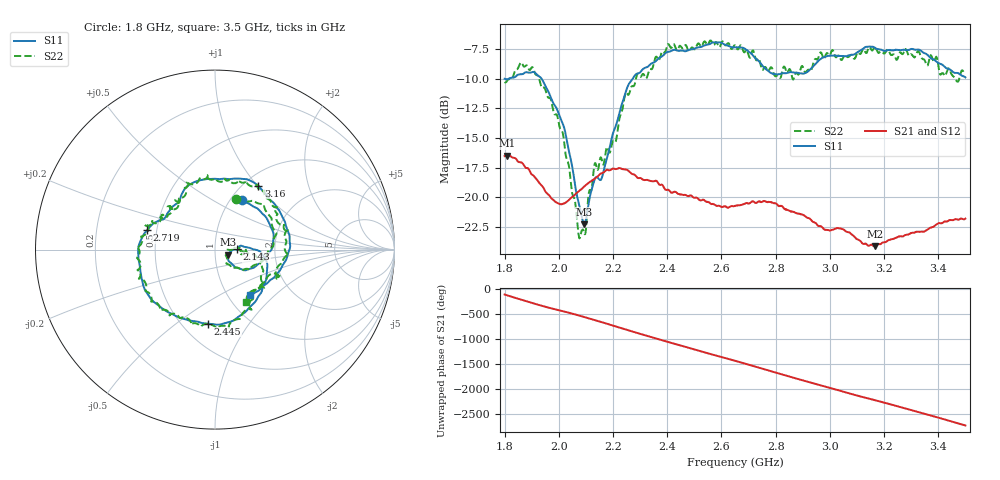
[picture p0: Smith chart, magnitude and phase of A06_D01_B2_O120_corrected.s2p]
! Created with skrf 1.9.0 (http://scikit-rf.org).
# Hz S RI R 50.0
!freq ReS11 ImS11 ReS21 ImS21 ReS12 ImS12 ReS22 ImS22
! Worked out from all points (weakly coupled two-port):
!   1601 points, 1.8 GHz to 3.5 GHz, reference 50 ohm
!   highest |S21| = -16.48 dB at 1.81 GHz (marker M1); lowest = -24.1 dB at 3.165 GHz (marker M2)
!   lowest |S11| = -22.3 dB at 2.093 GHz (marker M3), VSWR 1.17, Z = 57.7 - j3.21 ohm
!   |S11| at or under -10 dB: start of sweep to 1.814 GHz; 1.937 GHz to 2.273 GHz (336 MHz wide, 16 % of centre)
!   |S22| runs from -23.4 to -6.8 dB; largest |S21 - S12| = 0.003
!   S11 on the Smith chart (normalised r, x): 1.8 GHz: 1.12, +0.70; 2.143 GHz: 1.28, +0.01; 2.445 GHz: 0.66, -0.66; 2.719 GHz: 0.44, +0.11; 3.16 GHz: 1.16, +1.02; 3.5 GHz: 1.26, -0.71
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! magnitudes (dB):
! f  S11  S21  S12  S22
! 1.8 GHz  -10.0  -16.5  -16.5  -10.3
! 1.81 GHz  -10.0  -16.5  -16.5  -10.2
! 1.864 GHz  -9.6  -17.1  -17.1  -8.7
! 1.968 GHz  -11.4  -19.9  -20.0  -11.6
! 2.021 GHz  -14.2  -20.5  -20.5  -15.6
! 2.072 GHz  -20.3  -19.5  -19.5  -23.0
! 2.084 GHz  -21.5  -19.3  -19.3  -22.8
! 2.093 GHz  -22.3  -19.1  -19.1  -22.9
! 2.129 GHz  -18.7  -18.5  -18.5  -17.6
! 2.143 GHz  -18.3  -18.2  -18.2  -17.7
! 2.208 GHz  -14.1  -17.6  -17.6  -15.3
! 2.257 GHz  -10.5  -17.8  -17.7  -11.4
! 2.367 GHz  -8.3  -18.8  -18.8  -8.4
! 2.445 GHz  -7.6  -19.7  -19.7  -7.2
! 2.65 GHz  -7.4  -20.7  -20.7  -7.2
! 2.719 GHz  -8.1  -20.4  -20.3  -7.7
! 2.809 GHz  -9.6  -20.7  -20.6  -9.8
! 2.934 GHz  -9.1  -22.0  -22.0  -9.1
! 3.16 GHz  -7.3  -24.1  -24.0  -7.5
! 3.165 GHz  -7.4  -24.1  -24.1  -7.3
! 3.217 GHz  -7.6  -23.6  -23.6  -7.6
! 3.5 GHz  -9.9  -21.8  -21.8  -9.4
